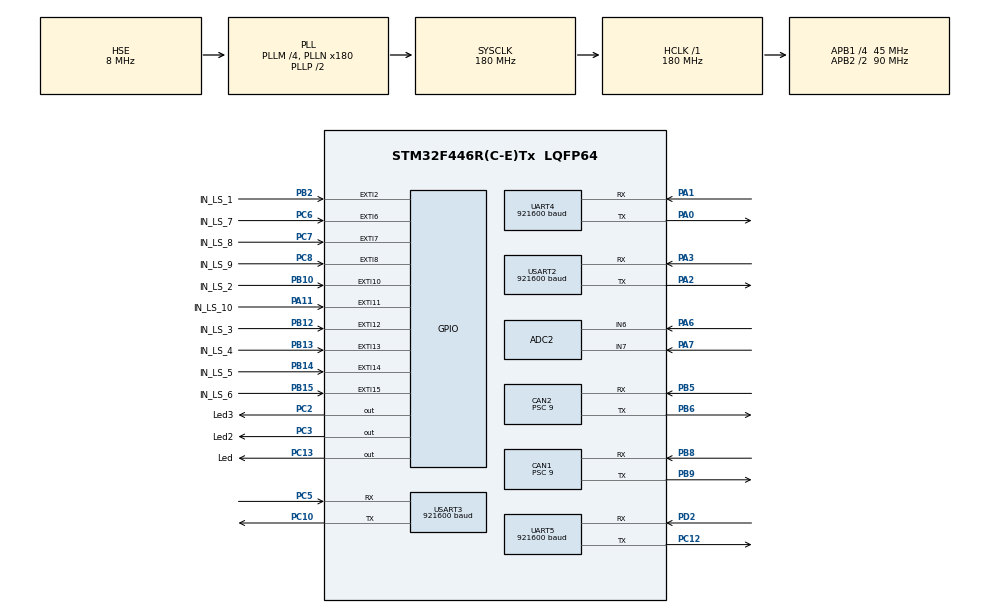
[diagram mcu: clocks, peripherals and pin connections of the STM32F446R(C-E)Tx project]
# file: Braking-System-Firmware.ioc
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ADC2.Channel-0\#ChannelRegularConversion=ADC_CHANNEL_6
ADC2.Channel-1\#ChannelRegularConversion=ADC_CHANNEL_7
ADC2.ClockPrescaler=ADC_CLOCK_SYNC_PCLK_DIV8
ADC2.ContinuousConvMode=ENABLE
ADC2.DMAContinuousRequests=ENABLE
ADC2.EOCSelection=ADC_EOC_SEQ_CONV
ADC2.InjNumberOfConversion=0
ADC2.NbrOfConversion=2
ADC2.NbrOfConversionFlag=1
ADC2.Rank-0\#ChannelRegularConversion=1
ADC2.Rank-1\#ChannelRegularConversion=2
ADC2.SamplingTime-0\#ChannelRegularConversion=ADC_SAMPLETIME_480CYCLES
ADC2.SamplingTime-1\#ChannelRegularConversion=ADC_SAMPLETIME_480CYCLES
ADC2.ScanConvMode=ENABLE
CAN1.BS1=CAN_BS1_2TQ
CAN1.BS2=CAN_BS2_2TQ
CAN1.CalculateBaudRate=1000000
CAN1.CalculateTimeBit=1000
CAN1.CalculateTimeQuantum=200.0
CAN1.NART=DISABLE
CAN1.Prescaler=9
CAN2.BS1=CAN_BS1_2TQ
CAN2.BS2=CAN_BS2_2TQ
CAN2.CalculateBaudRate=1000000
CAN2.CalculateTimeBit=1000
CAN2.CalculateTimeQuantum=200.0
CAN2.Mode=CAN_MODE_NORMAL
CAN2.Prescaler=9
Dma.ADC2.0.Direction=DMA_PERIPH_TO_MEMORY
Dma.ADC2.0.FIFOMode=DMA_FIFOMODE_DISABLE
Dma.ADC2.0.Instance=DMA2_Stream2
Dma.ADC2.0.MemDataAlignment=DMA_MDATAALIGN_WORD
Dma.ADC2.0.MemInc=DMA_MINC_ENABLE
Dma.ADC2.0.Mode=DMA_CIRCULAR
Dma.ADC2.0.PeriphDataAlignment=DMA_PDATAALIGN_WORD
Dma.ADC2.0.PeriphInc=DMA_PINC_DISABLE
Dma.ADC2.0.Priority=DMA_PRIORITY_LOW
Dma.Request0=ADC2
Dma.Request1=USART2_RX
Dma.Request2=USART3_RX
Dma.Request3=UART4_RX
Dma.Request4=UART5_RX
Dma.UART4_RX.3.Direction=DMA_PERIPH_TO_MEMORY
Dma.UART4_RX.3.FIFOMode=DMA_FIFOMODE_DISABLE
Dma.UART4_RX.3.Instance=DMA1_Stream2
Dma.UART4_RX.3.MemDataAlignment=DMA_MDATAALIGN_BYTE
Dma.UART4_RX.3.MemInc=DMA_MINC_ENABLE
Dma.UART4_RX.3.Mode=DMA_CIRCULAR
Dma.UART4_RX.3.PeriphDataAlignment=DMA_PDATAALIGN_BYTE
Dma.UART4_RX.3.PeriphInc=DMA_PINC_DISABLE
Dma.UART4_RX.3.Priority=DMA_PRIORITY_LOW
Dma.UART5_RX.4.Direction=DMA_PERIPH_TO_MEMORY
Dma.UART5_RX.4.FIFOMode=DMA_FIFOMODE_DISABLE
Dma.UART5_RX.4.Instance=DMA1_Stream0
Dma.UART5_RX.4.MemDataAlignment=DMA_MDATAALIGN_BYTE
Dma.UART5_RX.4.MemInc=DMA_MINC_ENABLE
Dma.UART5_RX.4.Mode=DMA_CIRCULAR
Dma.UART5_RX.4.PeriphDataAlignment=DMA_PDATAALIGN_BYTE
Dma.UART5_RX.4.PeriphInc=DMA_PINC_DISABLE
Dma.UART5_RX.4.Priority=DMA_PRIORITY_LOW
Dma.USART2_RX.1.Direction=DMA_PERIPH_TO_MEMORY
Dma.USART2_RX.1.FIFOMode=DMA_FIFOMODE_DISABLE
Dma.USART2_RX.1.Instance=DMA1_Stream5
Dma.USART2_RX.1.MemDataAlignment=DMA_MDATAALIGN_BYTE
Dma.USART2_RX.1.MemInc=DMA_MINC_ENABLE
Dma.USART2_RX.1.Mode=DMA_CIRCULAR
Dma.USART2_RX.1.PeriphDataAlignment=DMA_PDATAALIGN_BYTE
Dma.USART2_RX.1.PeriphInc=DMA_PINC_DISABLE
Dma.USART2_RX.1.Priority=DMA_PRIORITY_LOW
Dma.USART3_RX.2.Direction=DMA_PERIPH_TO_MEMORY
Dma.USART3_RX.2.FIFOMode=DMA_FIFOMODE_DISABLE
Dma.USART3_RX.2.Instance=DMA1_Stream1
Dma.USART3_RX.2.MemDataAlignment=DMA_MDATAALIGN_BYTE
Dma.USART3_RX.2.MemInc=DMA_MINC_ENABLE
Dma.USART3_RX.2.Mode=DMA_CIRCULAR
Dma.USART3_RX.2.PeriphDataAlignment=DMA_PDATAALIGN_BYTE
Dma.USART3_RX.2.PeriphInc=DMA_PINC_DISABLE
Dma.USART3_RX.2.Priority=DMA_PRIORITY_LOW
FREERTOS.Tasks01=BackendTask,24,512,Backend_Task,Default,NULL,Dynamic,NULL,NULL;Application,8,1024,Application_Task,Default,NULL,Dynamic,NULL,NULL
FREERTOS.configUSE_NEWLIB_REENTRANT=1
Mcu.Family=STM32F4
Mcu.Name=STM32F446R(C-E)Tx
Mcu.Package=LQFP64
NVIC.CAN1_RX0_IRQn=true\:5\:0\:false\:false\:true\:true\:true\:true\:true
NVIC.CAN2_RX1_IRQn=true\:5\:0\:false\:false\:true\:true\:true\:true\:true
NVIC.DMA1_Stream0_IRQn=true\:5\:0\:false\:false\:true\:true\:false\:true\:true
NVIC.DMA1_Stream1_IRQn=true\:5\:0\:false\:false\:true\:true\:false\:true\:true
NVIC.DMA1_Stream2_IRQn=true\:5\:0\:false\:false\:true\:true\:false\:true\:true
NVIC.DMA1_Stream5_IRQn=true\:5\:0\:false\:false\:true\:true\:false\:true\:true
NVIC.DMA2_Stream2_IRQn=true\:5\:0\:false\:false\:true\:true\:false\:true\:true
NVIC.EXTI15_10_IRQn=true\:5\:0\:false\:false\:true\:true\:true\:true\:true
NVIC.EXTI2_IRQn=true\:5\:0\:false\:false\:true\:true\:true\:true\:true
NVIC.EXTI9_5_IRQn=true\:5\:0\:false\:false\:true\:true\:true\:true\:true
NVIC.PriorityGroup=NVIC_PRIORITYGROUP_4
NVIC.TIM8_TRG_COM_TIM14_IRQn=true\:15\:0\:false\:false\:true\:false\:false\:true\:true
NVIC.TimeBase=TIM8_TRG_COM_TIM14_IRQn
NVIC.TimeBaseIP=TIM14
PA0-WKUP.Mode=Asynchronous
PA0-WKUP.Signal=UART4_TX
PA1.Mode=Asynchronous
PA1.Signal=UART4_RX
PA11.GPIO_Label=IN_LS_10
PA11.GPIO_ModeDefaultEXTI=GPIO_MODE_IT_RISING_FALLING
PA11.Signal=GPXTI11
PA2.Mode=Asynchronous
PA2.Signal=USART2_TX
PA3.Mode=Asynchronous
PA3.Signal=USART2_RX
PA4.Signal=ADCx_IN4
PA5.Signal=ADCx_IN5
PA6.Signal=ADCx_IN6
PA7.Signal=ADCx_IN7
PB10.GPIO_Label=IN_LS_2
PB10.Signal=GPXTI10
PB12.GPIO_Label=IN_LS_3
PB12.GPIO_ModeDefaultEXTI=GPIO_MODE_IT_RISING_FALLING
PB12.Signal=GPXTI12
PB13.GPIO_Label=IN_LS_4
PB13.GPIO_ModeDefaultEXTI=GPIO_MODE_IT_RISING_FALLING
PB13.Signal=GPXTI13
PB14.GPIO_Label=IN_LS_5
PB14.GPIO_ModeDefaultEXTI=GPIO_MODE_IT_RISING_FALLING
PB14.Signal=GPXTI14
PB15.GPIO_Label=IN_LS_6
PB15.GPIO_ModeDefaultEXTI=GPIO_MODE_IT_RISING_FALLING
PB15.Signal=GPXTI15
PB2.GPIO_Label=IN_LS_1
PB2.Signal=GPXTI2
PB5.Mode=CAN_Activate
PB5.Signal=CAN2_RX
PB6.Mode=CAN_Activate
PB6.Signal=CAN2_TX
PB8.Mode=CAN_Activate
PB8.Signal=CAN1_RX
PB9.Mode=CAN_Activate
PB9.Signal=CAN1_TX
PC10.Mode=Asynchronous
PC10.Signal=USART3_TX
PC12.Mode=Asynchronous
PC12.Signal=UART5_TX
PC13.GPIO_Label=Led
PC13.PinState=GPIO_PIN_SET
PC13.Signal=GPIO_Output
PC2.GPIO_Label=Led3
PC2.Signal=GPIO_Output
PC3.GPIO_Label=Led2
PC3.Signal=GPIO_Output
PC5.Mode=Asynchronous
PC5.Signal=USART3_RX
PC6.GPIO_Label=IN_LS_7
PC6.GPIO_ModeDefaultEXTI=GPIO_MODE_IT_RISING_FALLING
PC6.Signal=GPXTI6
PC7.GPIO_Label=IN_LS_8
PC7.GPIO_ModeDefaultEXTI=GPIO_MODE_IT_RISING_FALLING
PC7.Signal=GPXTI7
PC8.GPIO_Label=IN_LS_9
PC8.GPIO_ModeDefaultEXTI=GPIO_MODE_IT_RISING_FALLING
PC8.Signal=GPXTI8
PD2.Mode=Asynchronous
PD2.Signal=UART5_RX
PH0-OSC_IN.Mode=HSE-External-Oscillator
PH0-OSC_IN.Signal=RCC_OSC_IN
PH1-OSC_OUT.Mode=HSE-External-Oscillator
PH1-OSC_OUT.Signal=RCC_OSC_OUT
ProjectManager.HeapSize=0x200
ProjectManager.StackSize=0x400
ProjectManager.TargetToolchain=STM32CubeIDE
RCC.AHBFreq_Value=180000000
RCC.APB1CLKDivider=RCC_HCLK_DIV4
RCC.APB1Freq_Value=45000000
RCC.APB1TimFreq_Value=90000000
RCC.APB2CLKDivider=RCC_HCLK_DIV2
RCC.APB2Freq_Value=90000000
RCC.APB2TimFreq_Value=180000000
RCC.CortexFreq_Value=180000000
RCC.HCLKFreq_Value=180000000
RCC.HSE_VALUE=8000000
RCC.PLLM=4
RCC.PLLN=180
RCC.PLLSourceVirtual=RCC_PLLSOURCE_HSE
RCC.SYSCLKFreq_VALUE=180000000
RCC.SYSCLKSource=RCC_SYSCLKSOURCE_PLLCLK
RCC.USBFreq_Value=180000000
RCC.VCOOutputFreq_Value=360000000
SH.ADCx_IN4.0=ADC1_IN4
SH.ADCx_IN5.0=ADC1_IN5
SH.ADCx_IN6.0=ADC2_IN6,IN6
SH.ADCx_IN7.0=ADC2_IN7,IN7
UART4.BaudRate=921600
UART4.VirtualMode=Asynchronous
UART5.BaudRate=921600
UART5.VirtualMode=Asynchronous
USART2.BaudRate=921600
USART2.VirtualMode=VM_ASYNC
USART3.BaudRate=921600
USART3.VirtualMode=VM_ASYNC
VP_FREERTOS_VS_CMSIS_V2.Mode=CMSIS_V2
VP_SYS_VS_tim14.Mode=TIM14
board=custom

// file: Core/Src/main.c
/* USER CODE BEGIN Header */
/**
  ******************************************************************************
  * @file           : main.c
  * @brief          : Main program body
  ******************************************************************************
  * @attention
  *
  * Copyright (c) 2024 STMicroelectronics.
  * All rights reserved.
  *
  * This software is licensed under terms that can be found in the LICENSE file
  * in the root directory of this software component.
  * If no LICENSE file comes with this software, it is provided AS-IS.
  *
  ******************************************************************************
  */
/* USER CODE END Header */
#include "main.h"
#include "cmsis_os.h"
#include "adc.h"
#include "can.h"
#include "dma.h"
#include "usart.h"
#include "gpio.h"

/* USER CODE BEGIN Includes */
#include "Braking_System.h"
//#include "LifterDriver.h"
#include "LimitSwitch.h"
#include "PositionSensor.h"

/* USER CODE END Includes */

void SystemClock_Config(void);
void MX_FREERTOS_Init(void);

int main(void)
{

  /* MCU Configuration--------------------------------------------------------*/

  /* Reset of all peripherals, Initializes the Flash interface and the Systick. */
  HAL_Init();

  /* Configure the system clock */
  SystemClock_Config();

  /* Initialize all configured peripherals */
  MX_GPIO_Init();
  MX_DMA_Init();
  MX_CAN1_Init();
  MX_ADC2_Init();
  MX_CAN2_Init();
  MX_UART4_Init();
  MX_UART5_Init();
  MX_USART2_UART_Init();
  MX_USART3_UART_Init();
  /* USER CODE BEGIN 2 */
  Update_LS();
  ADC_Start();

  /* USER CODE END 2 */

  /* Init scheduler */
  osKernelInitialize();

  /* Call init function for freertos objects (in freertos.c) */
  MX_FREERTOS_Init();

  /* Start scheduler */
  osKernelStart();

  /* We should never get here as control is now taken by the scheduler */
  /* Infinite loop */
  while (1)
  {

  }
}

void SystemClock_Config(void)
{
  RCC_OscInitTypeDef RCC_OscInitStruct = {0};
  RCC_ClkInitTypeDef RCC_ClkInitStruct = {0};

  /** Configure the main internal regulator output voltage
  */
  __HAL_RCC_PWR_CLK_ENABLE();
  __HAL_PWR_VOLTAGESCALING_CONFIG(PWR_REGULATOR_VOLTAGE_SCALE1);

  /** Initializes the RCC Oscillators according to the specified parameters
  * in the RCC_OscInitTypeDef structure.
  */
  RCC_OscInitStruct.OscillatorType = RCC_OSCILLATORTYPE_HSE;
  RCC_OscInitStruct.HSEState = RCC_HSE_ON;
  RCC_OscInitStruct.PLL.PLLState = RCC_PLL_ON;
  RCC_OscInitStruct.PLL.PLLSource = RCC_PLLSOURCE_HSE;
  RCC_OscInitStruct.PLL.PLLM = 4;
  RCC_OscInitStruct.PLL.PLLN = 180;
  RCC_OscInitStruct.PLL.PLLP = RCC_PLLP_DIV2;
  RCC_OscInitStruct.PLL.PLLQ = 2;
  RCC_OscInitStruct.PLL.PLLR = 2;
  if (HAL_RCC_OscConfig(&RCC_OscInitStruct) != HAL_OK)
  {
    Error_Handler();
  }

  /** Activate the Over-Drive mode
  */
  if (HAL_PWREx_EnableOverDrive() != HAL_OK)
  {
    Error_Handler();
  }

  /** Initializes the CPU, AHB and APB buses clocks
  */
  RCC_ClkInitStruct.ClockType = RCC_CLOCKTYPE_HCLK|RCC_CLOCKTYPE_SYSCLK
                              |RCC_CLOCKTYPE_PCLK1|RCC_CLOCKTYPE_PCLK2;
  RCC_ClkInitStruct.SYSCLKSource = RCC_SYSCLKSOURCE_PLLCLK;
  RCC_ClkInitStruct.AHBCLKDivider = RCC_SYSCLK_DIV1;
  RCC_ClkInitStruct.APB1CLKDivider = RCC_HCLK_DIV4;
  RCC_ClkInitStruct.APB2CLKDivider = RCC_HCLK_DIV2;

  if (HAL_RCC_ClockConfig(&RCC_ClkInitStruct, FLASH_LATENCY_5) != HAL_OK)
  {
    Error_Handler();
  }
}

void HAL_TIM_PeriodElapsedCallback(TIM_HandleTypeDef *htim)
{
  if (htim->Instance == TIM14) {
    HAL_IncTick();
  }
}

void Error_Handler(void)
{
  __disable_irq();
  while (1)
  {
  }
}

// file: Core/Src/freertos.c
/* USER CODE BEGIN Header */
/**
  ******************************************************************************
  * File Name          : freertos.c
  * Description        : Code for freertos applications
  ******************************************************************************
  * @attention
  *
  * Copyright (c) 2024 STMicroelectronics.
  * All rights reserved.
  *
  * This software is licensed under terms that can be found in the LICENSE file
  * in the root directory of this software component.
  * If no LICENSE file comes with this software, it is provided AS-IS.
  *
  ******************************************************************************
  */
/* USER CODE END Header */

#include "FreeRTOS.h"
#include "task.h"
#include "main.h"
#include "cmsis_os.h"

/* USER CODE BEGIN Includes */
#include "CubeMars.h"
#include "TimeSharing.h"
#include "Braking_System.h"
#include "Lifter_M01.h"
#include "Door_M01.h"
/* USER CODE END Includes */

/* USER CODE BEGIN Variables */
extern uint8_t TransmissionDataToMotorsErrorFlag;

/* USER CODE END Variables */
/* Definitions for BackendTask */
osThreadId_t BackendTaskHandle;
const osThreadAttr_t BackendTask_attributes = {
  .name = "BackendTask",
  .stack_size = 512 * 4,
  .priority = (osPriority_t) osPriorityNormal,
};
/* Definitions for Application */
osThreadId_t ApplicationHandle;
const osThreadAttr_t Application_attributes = {
  .name = "Application",
  .stack_size = 1024 * 4,
  .priority = (osPriority_t) osPriorityLow,
};

void Backend_Task(void *argument);
void Application_Task(void *argument);

void MX_FREERTOS_Init(void); /* (MISRA C 2004 rule 8.1) */

void MX_FREERTOS_Init(void) {

  /* Create the thread(s) */
  /* creation of BackendTask */
  BackendTaskHandle = osThreadNew(Backend_Task, NULL, &BackendTask_attributes);

  /* creation of Application */
  ApplicationHandle = osThreadNew(Application_Task, NULL, &Application_attributes);

}

void Backend_Task(void *argument)
{
  /* USER CODE BEGIN Backend_Task */
  /* Infinite loop */
  HAL_Delay(100);
  for(;;)
  {
	/*Handle motor messaging stream tasks*/
	for (uint8_t tid = 1;tid <= Number_of_Motor; tid++)
	{
		if 	(Time_Sharing_Handle(0,tid, 10))
		{
			if (sys_ok == CubeMars_bulid_CAN_command(&MotorControl[tid-1])) {
				if(sys_ok != CAN_TransmitToBrakeMotors())
					TransmissionDataToMotorsErrorFlag = 1;
			}
		}
	}
//	if 	(Time_Sharing_Handle(1,1, 10))
//		SendBrakeStatusToMainBoard();
//	if (Time_Sharing_Handle(1,2, 10))
//		SendBrakeValuesToMainBoard();
//	if (Time_Sharing_Handle(1,3, 10))
//		SendMotorTemperatureToMainBoard();
//	if (Time_Sharing_Handle(1,4, 10))
//		SendMotorCurrentToMainBoard();
    osDelay(1);
  }
  /* USER CODE END Backend_Task */
}

void Application_Task(void *argument)
{
  /* USER CODE BEGIN Application_Task */
	 Braking_System_Config();
  /* Infinite loop */
  for(;;)
  {
#if(SYSTEM_M01 == SYSTEM_M01_LIFTER_TEST)
	  Lifter_M01_Loop();

#elif(SYSTEM_M01 == SYSTEM_M01_BRAKING_TEST)

	  Braking_System_Loop_M01();

#elif(SYSTEM_M01 == SYSTEM_M01_LEFTDOOR_TEST)
	  Door_Left_M01_Loop();
#elif(SYSTEM_M01 == SYSTEM_M01_RIGHTDOOR_TEST)
	  Door_Right_M01_Loop();
#elif(SYSTEM_M01 == SYSTEM_M01_LEFTRIGHTDOOR_TEST)
	  Door_State_Machine();
	  Door_TimeDelay_Process();

	  Door_Left_M01_Loop();
	  Door_Right_M01_Loop();
#endif

	  osDelay(5);
  }
  /* USER CODE END Application_Task */
}
